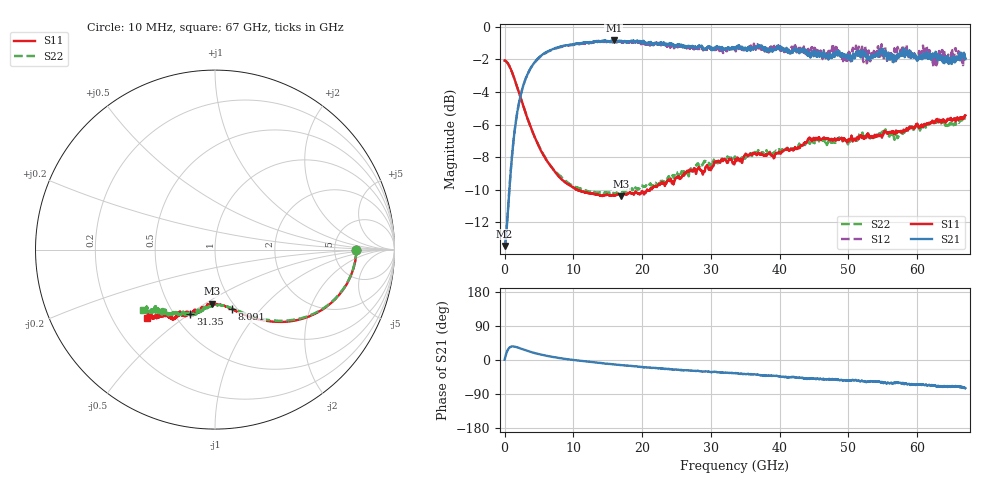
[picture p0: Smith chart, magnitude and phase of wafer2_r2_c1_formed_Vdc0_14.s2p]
!Keysight Technologies,N5227A,US51270248,A.10.65.08
!Date: Tuesday, June 11, 2024 06:59:07
!Correction: S11(Full 2 Port(1,4))
!S41(Full 2 Port(1,4))
!S14(Full 2 Port(1,4))
!S44(Full 2 Port(1,4))
!S2P File: Measurements: S11, S41, S14, S44:
# Hz S  dB  R 50
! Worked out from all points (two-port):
!   3201 points, 10 MHz to 67 GHz, reference 50 ohm
!   highest |S21| = -0.85 dB at 15.88 GHz (marker M1); lowest = -13.4 dB at 10 MHz (marker M2)
!   |S21| within 3 dB of the highest: 2.561 GHz to end of sweep
!   lowest |S11| = -10.4 dB at 16.97 GHz (marker M3), VSWR 1.87, Z = 40.3 - j26.8 ohm
!   |S11| at or under -10 dB: 10.56 GHz to 20.69 GHz (10.12 GHz wide, 64.8 % of centre); 20.75 GHz to 21.13 GHz (380.6 MHz wide, 1.82 % of centre)
!   |S22| runs from -10.2 to -2.1 dB; largest |S21 - S12| = 0.091
!   S11 on the Smith chart (normalised r, x): 10 MHz: 8.41, -0.16; 8.091 GHz: 0.95, -0.71; 31.35 GHz: 0.60, -0.50; 67 GHz: 0.35, -0.37
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1e7  -2.07 -0.3  -13.44 0.7  -13.46 0.8  -2.08 -0.2
1.307931e9  -3.04 -25.9  -6.97 35.8  -6.96 35.6  -3.05 -25.6
2.626797e9  -4.75 -43.6  -3.74 28.5  -3.75 28.3  -4.75 -42.7
4.845841e9  -7.21 -60.9  -1.95 16.2  -1.98 16.0  -7.19 -59.3
8.090669e9  -9.28 -74.3  -1.22 4.8  -1.26 4.8  -9.15 -72.4
1.118896e10  -10.10 -82.3  -1.01 -2.3  -1.05 -2.6  -9.95 -80.8
1.587826e10  -10.35 -91.9  -0.85 -11.5  -0.92 -11.2  -10.22 -91.0
1.696684e10  -10.40 -93.3  -0.86 -13.5  -0.97 -13.6  -10.20 -92.2
2.234698e10  -9.70 -99.2  -1.06 -21.5  -1.06 -21.3  -9.70 -100.0
3.134876e10  -8.31 -110.9  -1.35 -33.1  -1.39 -32.0  -8.25 -112.2
3.3505e10  -8.23 -112.6  -1.34 -34.5  -1.43 -34.7  -7.96 -116.5
4.468396e10  -6.93 -122.6  -1.61 -48.8  -1.31 -48.1  -7.02 -125.8
5.012689e10  -6.98 -126.8  -1.90 -53.7  -1.57 -53.0  -7.04 -130.0
5.173884e10  -6.70 -127.3  -1.77 -56.6  -1.84 -54.5  -6.75 -131.1
5.297397e10  -6.69 -129.4  -1.91 -57.5  -1.51 -57.0  -6.66 -133.8
5.460685e10  -6.67 -129.4  -1.45 -57.9  -1.81 -56.6  -6.55 -133.1
5.584198e10  -6.48 -129.3  -1.70 -60.0  -1.81 -60.3  -6.69 -135.2
5.730738e10  -6.42 -130.0  -1.90 -60.5  -1.67 -60.9  -6.70 -133.6
6.153613e10  -5.94 -131.6  -1.97 -67.2  -1.69 -68.1  -6.06 -136.2
6.264565e10  -5.80 -131.6  -1.62 -67.1  -1.91 -68.2  -5.81 -137.8
6.375517e10  -5.72 -133.9  -1.86 -70.5  -1.65 -70.2  -5.86 -140.0
6.7e10  -5.44 -134.9  -1.94 -74.1  -2.21 -74.9  -5.64 -140.2
